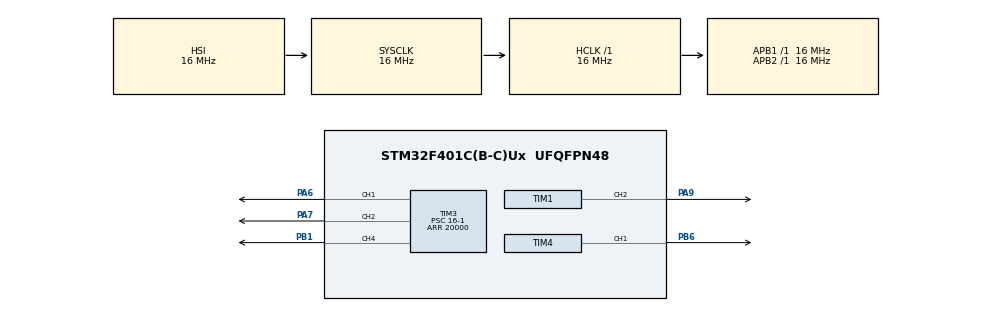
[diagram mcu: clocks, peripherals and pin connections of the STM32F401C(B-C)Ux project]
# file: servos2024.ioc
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Mcu.Family=STM32F4
Mcu.Name=STM32F401C(B-C)Ux
Mcu.Package=UFQFPN48
NVIC.PriorityGroup=NVIC_PRIORITYGROUP_4
PA6.Signal=S_TIM3_CH1
PA7.Signal=S_TIM3_CH2
PA9.Signal=S_TIM1_CH2
PB1.Signal=S_TIM3_CH4
PB6.Signal=S_TIM4_CH1
ProjectManager.HeapSize=0x200
ProjectManager.StackSize=0x400
ProjectManager.TargetToolchain=STM32CubeIDE
RCC.AHBFreq_Value=16000000
RCC.APB1Freq_Value=16000000
RCC.APB2Freq_Value=16000000
RCC.CortexFreq_Value=16000000
RCC.HSE_VALUE=25000000
RCC.HSI_VALUE=16000000
RCC.LSE_VALUE=32768
RCC.SYSCLKFreq_VALUE=16000000
RCC.VCOOutputFreq_Value=192000000
SH.S_TIM1_CH2.0=TIM1_CH2,PWM Generation2 CH2
SH.S_TIM3_CH1.0=TIM3_CH1,PWM Generation1 CH1
SH.S_TIM3_CH2.0=TIM3_CH2,PWM Generation2 CH2
SH.S_TIM3_CH4.0=TIM3_CH4,PWM Generation4 CH4
SH.S_TIM4_CH1.0=TIM4_CH1,PWM Generation1 CH1
TIM1.AutoReloadPreload=TIM_AUTORELOAD_PRELOAD_ENABLE
TIM1.Channel-PWM\ Generation2\ CH2=TIM_CHANNEL_2
TIM1.Period=16000
TIM1.Prescaler=10-1
TIM1.Pulse-PWM\ Generation2\ CH2=3200
TIM3.AutoReloadPreload=TIM_AUTORELOAD_PRELOAD_ENABLE
TIM3.Channel-PWM\ Generation1\ CH1=TIM_CHANNEL_1
TIM3.Channel-PWM\ Generation2\ CH2=TIM_CHANNEL_2
TIM3.Channel-PWM\ Generation4\ CH4=TIM_CHANNEL_4
TIM3.Period=20000
TIM3.Prescaler=16-1
TIM3.Pulse-PWM\ Generation1\ CH1=1000
TIM3.Pulse-PWM\ Generation2\ CH2=10000
TIM3.Pulse-PWM\ Generation4\ CH4=2000
TIM4.Channel-PWM\ Generation1\ CH1=TIM_CHANNEL_1
TIM4.Period=20000
TIM4.Prescaler=16-1
TIM4.Pulse-PWM\ Generation1\ CH1=1500
VP_TIM1_VS_ClockSourceINT.Mode=Internal
VP_TIM3_VS_ClockSourceINT.Mode=Internal
VP_TIM4_VS_ClockSourceINT.Mode=Internal
board=custom

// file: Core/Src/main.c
/* USER CODE BEGIN Header */
/**
  ******************************************************************************
  * @file           : main.c
  * @brief          : Main program body
  ******************************************************************************
  * @attention
  *
  * Copyright (c) 2024 STMicroelectronics.
  * All rights reserved.
  *
  * This software is licensed under terms that can be found in the LICENSE file
  * in the root directory of this software component.
  * If no LICENSE file comes with this software, it is provided AS-IS.
  *
  ******************************************************************************
  */
/* USER CODE END Header */
#include "main.h"

/* USER CODE BEGIN Includes */
#include "servos.h"
#include "PWMB.h"
/* USER CODE END Includes */

TIM_HandleTypeDef htim1;
TIM_HandleTypeDef htim3;
TIM_HandleTypeDef htim4;

void SystemClock_Config(void);
static void MX_GPIO_Init(void);
static void MX_TIM3_Init(void);
static void MX_TIM4_Init(void);
static void MX_TIM1_Init(void);

int main(void)
{

  /* MCU Configuration--------------------------------------------------------*/

  /* Reset of all peripherals, Initializes the Flash interface and the Systick. */
  HAL_Init();

  /* Configure the system clock */
  SystemClock_Config();

  /* Initialize all configured peripherals */
  MX_GPIO_Init();
  MX_TIM3_Init();
  MX_TIM4_Init();
  MX_TIM1_Init();
  /* USER CODE BEGIN 2 */
  SERVO_init(&SERVO1);
  SERVO_init(&SERVO2);
  SERVO_init(&SERVO3);
  PWM_init(&PWM1);
  PWM_init(&PWM2);
  /* USER CODE END 2 */

  /* Infinite loop */
  /* USER CODE BEGIN WHILE */
  while (1)
  {
	  SERVO_ANG(&SERVO1,30);   //saca en angulo
	  SERVO_ANG(&SERVO2,-30);   //saca en angulo
	  SERVO_ANG(&SERVO3,-40);   //saca en angulo

	  HAL_Delay(500);

      SERVO_ANG(&SERVO1,-90);   //saca en angulo
      	  SERVO_ANG(&SERVO2,80);   //saca en angulo
            HAL_Delay(800);

            SERVO_ANG(&SERVO3,40);   //saca en angulo

            SERVO_MILI(&SERVO1, 1.5);
            SERVO_MICRO(&SERVO2, 1500);
            HAL_Delay(800);

    /* USER CODE END WHILE */

  }
}

void SystemClock_Config(void)
{
  RCC_OscInitTypeDef RCC_OscInitStruct = {0};
  RCC_ClkInitTypeDef RCC_ClkInitStruct = {0};

  /** Configure the main internal regulator output voltage
  */
  __HAL_RCC_PWR_CLK_ENABLE();
  __HAL_PWR_VOLTAGESCALING_CONFIG(PWR_REGULATOR_VOLTAGE_SCALE2);

  /** Initializes the RCC Oscillators according to the specified parameters
  * in the RCC_OscInitTypeDef structure.
  */
  RCC_OscInitStruct.OscillatorType = RCC_OSCILLATORTYPE_HSI;
  RCC_OscInitStruct.HSIState = RCC_HSI_ON;
  RCC_OscInitStruct.HSICalibrationValue = RCC_HSICALIBRATION_DEFAULT;
  RCC_OscInitStruct.PLL.PLLState = RCC_PLL_NONE;
  if (HAL_RCC_OscConfig(&RCC_OscInitStruct) != HAL_OK)
  {
    Error_Handler();
  }

  /** Initializes the CPU, AHB and APB buses clocks
  */
  RCC_ClkInitStruct.ClockType = RCC_CLOCKTYPE_HCLK|RCC_CLOCKTYPE_SYSCLK
                              |RCC_CLOCKTYPE_PCLK1|RCC_CLOCKTYPE_PCLK2;
  RCC_ClkInitStruct.SYSCLKSource = RCC_SYSCLKSOURCE_HSI;
  RCC_ClkInitStruct.AHBCLKDivider = RCC_SYSCLK_DIV1;
  RCC_ClkInitStruct.APB1CLKDivider = RCC_HCLK_DIV1;
  RCC_ClkInitStruct.APB2CLKDivider = RCC_HCLK_DIV1;

  if (HAL_RCC_ClockConfig(&RCC_ClkInitStruct, FLASH_LATENCY_0) != HAL_OK)
  {
    Error_Handler();
  }
}

static void MX_TIM1_Init(void)
{

  TIM_ClockConfigTypeDef sClockSourceConfig = {0};
  TIM_MasterConfigTypeDef sMasterConfig = {0};
  TIM_OC_InitTypeDef sConfigOC = {0};
  TIM_BreakDeadTimeConfigTypeDef sBreakDeadTimeConfig = {0};

  htim1.Instance = TIM1;
  htim1.Init.Prescaler = 10-1;
  htim1.Init.CounterMode = TIM_COUNTERMODE_UP;
  htim1.Init.Period = 16000;
  htim1.Init.ClockDivision = TIM_CLOCKDIVISION_DIV1;
  htim1.Init.RepetitionCounter = 0;
  htim1.Init.AutoReloadPreload = TIM_AUTORELOAD_PRELOAD_ENABLE;
  if (HAL_TIM_Base_Init(&htim1) != HAL_OK)
  {
    Error_Handler();
  }
  sClockSourceConfig.ClockSource = TIM_CLOCKSOURCE_INTERNAL;
  if (HAL_TIM_ConfigClockSource(&htim1, &sClockSourceConfig) != HAL_OK)
  {
    Error_Handler();
  }
  if (HAL_TIM_PWM_Init(&htim1) != HAL_OK)
  {
    Error_Handler();
  }
  sMasterConfig.MasterOutputTrigger = TIM_TRGO_RESET;
  sMasterConfig.MasterSlaveMode = TIM_MASTERSLAVEMODE_DISABLE;
  if (HAL_TIMEx_MasterConfigSynchronization(&htim1, &sMasterConfig) != HAL_OK)
  {
    Error_Handler();
  }
  sConfigOC.OCMode = TIM_OCMODE_PWM1;
  sConfigOC.Pulse = 3200;
  sConfigOC.OCPolarity = TIM_OCPOLARITY_HIGH;
  sConfigOC.OCNPolarity = TIM_OCNPOLARITY_HIGH;
  sConfigOC.OCFastMode = TIM_OCFAST_DISABLE;
  sConfigOC.OCIdleState = TIM_OCIDLESTATE_RESET;
  sConfigOC.OCNIdleState = TIM_OCNIDLESTATE_RESET;
  if (HAL_TIM_PWM_ConfigChannel(&htim1, &sConfigOC, TIM_CHANNEL_2) != HAL_OK)
  {
    Error_Handler();
  }
  sBreakDeadTimeConfig.OffStateRunMode = TIM_OSSR_DISABLE;
  sBreakDeadTimeConfig.OffStateIDLEMode = TIM_OSSI_DISABLE;
  sBreakDeadTimeConfig.LockLevel = TIM_LOCKLEVEL_OFF;
  sBreakDeadTimeConfig.DeadTime = 0;
  sBreakDeadTimeConfig.BreakState = TIM_BREAK_DISABLE;
  sBreakDeadTimeConfig.BreakPolarity = TIM_BREAKPOLARITY_HIGH;
  sBreakDeadTimeConfig.AutomaticOutput = TIM_AUTOMATICOUTPUT_DISABLE;
  if (HAL_TIMEx_ConfigBreakDeadTime(&htim1, &sBreakDeadTimeConfig) != HAL_OK)
  {
    Error_Handler();
  }
  HAL_TIM_MspPostInit(&htim1);

}

static void MX_TIM3_Init(void)
{

  TIM_ClockConfigTypeDef sClockSourceConfig = {0};
  TIM_MasterConfigTypeDef sMasterConfig = {0};
  TIM_OC_InitTypeDef sConfigOC = {0};

  htim3.Instance = TIM3;
  htim3.Init.Prescaler = 16-1;
  htim3.Init.CounterMode = TIM_COUNTERMODE_UP;
  htim3.Init.Period = 20000;
  htim3.Init.ClockDivision = TIM_CLOCKDIVISION_DIV1;
  htim3.Init.AutoReloadPreload = TIM_AUTORELOAD_PRELOAD_ENABLE;
  if (HAL_TIM_Base_Init(&htim3) != HAL_OK)
  {
    Error_Handler();
  }
  sClockSourceConfig.ClockSource = TIM_CLOCKSOURCE_INTERNAL;
  if (HAL_TIM_ConfigClockSource(&htim3, &sClockSourceConfig) != HAL_OK)
  {
    Error_Handler();
  }
  if (HAL_TIM_PWM_Init(&htim3) != HAL_OK)
  {
    Error_Handler();
  }
  sMasterConfig.MasterOutputTrigger = TIM_TRGO_RESET;
  sMasterConfig.MasterSlaveMode = TIM_MASTERSLAVEMODE_DISABLE;
  if (HAL_TIMEx_MasterConfigSynchronization(&htim3, &sMasterConfig) != HAL_OK)
  {
    Error_Handler();
  }
  sConfigOC.OCMode = TIM_OCMODE_PWM1;
  sConfigOC.Pulse = 1000;
  sConfigOC.OCPolarity = TIM_OCPOLARITY_HIGH;
  sConfigOC.OCFastMode = TIM_OCFAST_DISABLE;
  if (HAL_TIM_PWM_ConfigChannel(&htim3, &sConfigOC, TIM_CHANNEL_1) != HAL_OK)
  {
    Error_Handler();
  }
  sConfigOC.Pulse = 10000;
  if (HAL_TIM_PWM_ConfigChannel(&htim3, &sConfigOC, TIM_CHANNEL_2) != HAL_OK)
  {
    Error_Handler();
  }
  sConfigOC.Pulse = 2000;
  if (HAL_TIM_PWM_ConfigChannel(&htim3, &sConfigOC, TIM_CHANNEL_4) != HAL_OK)
  {
    Error_Handler();
  }
  HAL_TIM_MspPostInit(&htim3);

}

static void MX_TIM4_Init(void)
{

  TIM_ClockConfigTypeDef sClockSourceConfig = {0};
  TIM_MasterConfigTypeDef sMasterConfig = {0};
  TIM_OC_InitTypeDef sConfigOC = {0};

  htim4.Instance = TIM4;
  htim4.Init.Prescaler = 16-1;
  htim4.Init.CounterMode = TIM_COUNTERMODE_UP;
  htim4.Init.Period = 20000;
  htim4.Init.ClockDivision = TIM_CLOCKDIVISION_DIV1;
  htim4.Init.AutoReloadPreload = TIM_AUTORELOAD_PRELOAD_DISABLE;
  if (HAL_TIM_Base_Init(&htim4) != HAL_OK)
  {
    Error_Handler();
  }
  sClockSourceConfig.ClockSource = TIM_CLOCKSOURCE_INTERNAL;
  if (HAL_TIM_ConfigClockSource(&htim4, &sClockSourceConfig) != HAL_OK)
  {
    Error_Handler();
  }
  if (HAL_TIM_PWM_Init(&htim4) != HAL_OK)
  {
    Error_Handler();
  }
  sMasterConfig.MasterOutputTrigger = TIM_TRGO_RESET;
  sMasterConfig.MasterSlaveMode = TIM_MASTERSLAVEMODE_DISABLE;
  if (HAL_TIMEx_MasterConfigSynchronization(&htim4, &sMasterConfig) != HAL_OK)
  {
    Error_Handler();
  }
  sConfigOC.OCMode = TIM_OCMODE_PWM1;
  sConfigOC.Pulse = 1500;
  sConfigOC.OCPolarity = TIM_OCPOLARITY_HIGH;
  sConfigOC.OCFastMode = TIM_OCFAST_DISABLE;
  if (HAL_TIM_PWM_ConfigChannel(&htim4, &sConfigOC, TIM_CHANNEL_1) != HAL_OK)
  {
    Error_Handler();
  }
  HAL_TIM_MspPostInit(&htim4);

}

static void MX_GPIO_Init(void)
{

  /* GPIO Ports Clock Enable */
  __HAL_RCC_GPIOA_CLK_ENABLE();
  __HAL_RCC_GPIOB_CLK_ENABLE();

}

void Error_Handler(void)
{
  __disable_irq();
  while (1)
  {
  }
}
